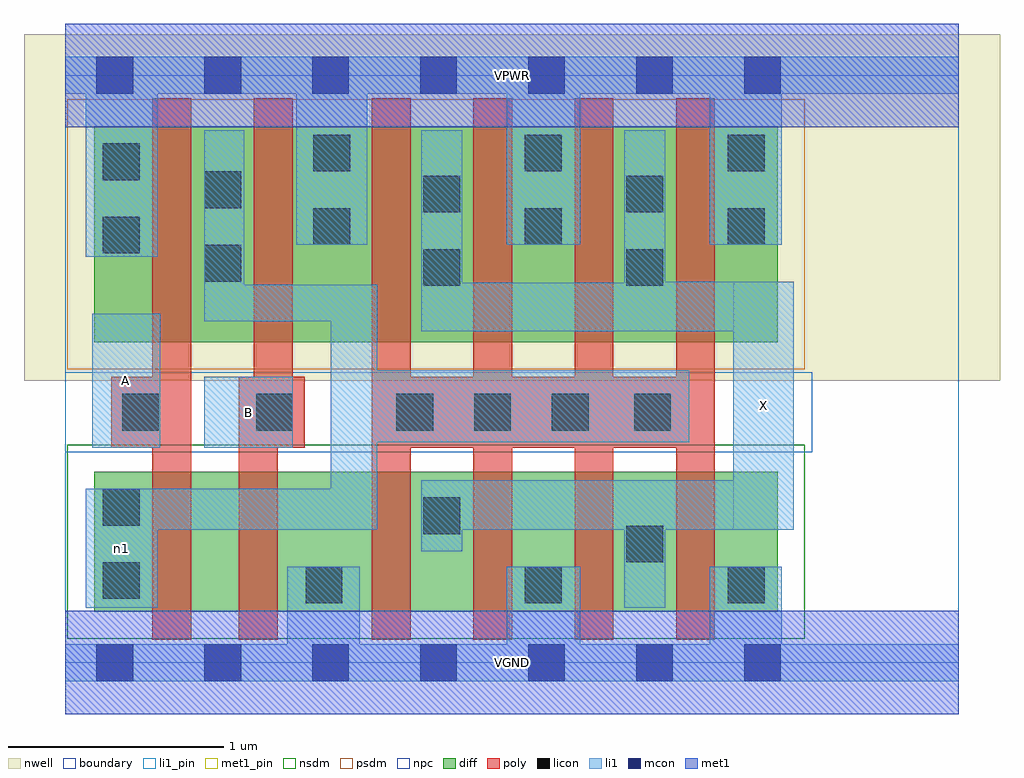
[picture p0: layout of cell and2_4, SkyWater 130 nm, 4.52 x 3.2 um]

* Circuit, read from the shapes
.subckt and2_4 A B VGND VPWR X n1
XM1 n2 A n1 VSUBS sky130_fd_pr__nfet_01v8 w=0.65 l=0.18
XM2 VGND B n2 VSUBS sky130_fd_pr__nfet_01v8 w=0.65 l=0.18
XM3 X n1 VGND VSUBS sky130_fd_pr__nfet_01v8 w=0.65 l=0.18 m=4
XM4 n1 A VPWR n3 sky130_fd_pr__pfet_01v8 w=1 l=0.18
XM5 VPWR B n1 n3 sky130_fd_pr__pfet_01v8 w=1 l=0.18
XM6 X n1 VPWR n3 sky130_fd_pr__pfet_01v8 w=1 l=0.18 m=4
.ends

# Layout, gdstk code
import gdstk
lib = gdstk.Library(unit=1e-6, precision=1e-09)
def R(c, l, rs):  # rectangles x0, y0, x1, y1
    for r in rs: c.add(gdstk.rectangle(r[:2], r[2:], *l))
def A(c, l, x, y, w, h, nx, ny, dx, dy):  # array of equal rectangles
    R(c, l, [(x+i*dx, y+j*dy, x+i*dx+w, y+j*dy+h) for i in range(nx) for j in range(ny)])
nwell = (64, 20)
diff = (65, 20)
poly = (66, 20)
licon = (66, 44)
li1_pin = (67, 16)
li1 = (67, 20)
mcon = (67, 44)
met1_pin = (68, 16)
met1 = (68, 20)
nsdm = (93, 44)
psdm = (94, 20)
npc = (95, 20)
boundary = (235, 4)

and2_4 = lib.new_cell('and2_4')
R(and2_4, nwell, [(-0.19,1.305,4.33,2.91), (0,1.305,4.14,2.91)])
R(and2_4, diff, [(0.135,0.235,3.3,0.885), (0.135,1.485,3.3,2.485)])
A(and2_4, poly, 1.42, 0.105, 0.18, 2.51, 4, 1, 0.47, 0)
R(and2_4, poly, [(0.405,0.105,0.585,2.615), (0.805,0.105,0.985,1.325), (0.215,0.995,0.585,1.325), (0.805,0.995,1.11,1.325), (0.875,0.995,1.055,2.615), (1.42,0.995,3.01,1.325)])
A(and2_4, licon, 1.535, 1.075, 0.17, 0.17, 3, 1, 0.36, 0)
R(and2_4, licon, [(1.115,0.275,1.285,0.445), (2.13,0.275,2.3,0.445), (3.07,0.275,3.24,0.445), (0.175,0.295,0.345,0.465), (2.6,0.465,2.77,0.635), (1.66,0.595,1.83,0.765), (0.175,0.635,0.345,0.805), (0.265,1.075,0.435,1.245), (0.885,1.075,1.055,1.245), (2.635,1.075,2.805,1.245), (1.66,1.745,1.83,1.915), (2.6,1.745,2.77,1.915), (0.645,1.765,0.815,1.935), (0.175,1.895,0.345,2.065), (1.15,1.935,1.32,2.105), (2.13,1.935,2.3,2.105), (3.07,1.935,3.24,2.105), (1.66,2.085,1.83,2.255), (2.6,2.085,2.77,2.255), (0.645,2.105,0.815,2.275), (0.175,2.235,0.345,2.405), (1.15,2.275,1.32,2.445), (2.13,2.275,2.3,2.445), (3.07,2.275,3.24,2.445)])
R(and2_4, li1_pin, [(3.095,0.615,3.375,1.765), (0.125,0.995,0.44,1.615), (0.645,0.995,1.055,1.325)])
R(and2_4, li1, [(0,-0.085,4.14,0.085), (1.03,-0.085,1.365,0.445), (2.045,-0.085,2.385,0.445), (2.985,-0.085,3.32,0.445), (0.095,0.255,0.43,0.805), (2.59,0.255,2.78,0.845), (1.65,0.515,1.84,0.845), (0.095,0.615,1.445,0.805), (1.23,0.615,1.445,1.75), (1.65,0.615,3.375,0.845), (3.095,0.615,3.375,1.765), (0.125,0.995,0.44,1.615), (0.645,0.995,1.055,1.325), (1.23,1.02,2.89,1.355), (1.65,1.535,3.375,1.76), (1.65,1.535,1.84,2.465), (2.59,1.535,2.78,2.465), (2.59,1.535,3.375,1.765), (0.645,1.58,0.83,2.465), (0.645,1.58,1.445,1.75), (0.095,1.88,0.43,2.805), (1.07,1.935,1.4,2.805), (2.045,1.935,2.385,2.805), (2.985,1.935,3.32,2.805), (0,2.635,4.14,2.805)])
A(and2_4, mcon, 0.145, -0.085, 0.17, 0.17, 7, 2, 0.5, 2.72)
R(and2_4, met1_pin, [(0,-0.24,4.14,0.24), (0,2.48,4.14,2.96)])
R(and2_4, met1, [(0,-0.24,4.14,0.24), (0,2.48,4.14,2.96)])
R(and2_4, nsdm, [(0.01,0.11,3.425,1.01)])
R(and2_4, psdm, [(0.01,1.36,3.425,2.61)])
R(and2_4, npc, [(0,0.975,3.46,1.345)])
R(and2_4, boundary, [(0,0,4.14,2.72)])
and2_4.add(gdstk.Label('A', (0.282,1.305), layer=67, texttype=5))
and2_4.add(gdstk.Label('B', (0.85,1.16), layer=67, texttype=5))
and2_4.add(gdstk.Label('X', (3.235,1.19), layer=67, texttype=5))
and2_4.add(gdstk.Label('n1', (0.262,0.53), layer=67, texttype=5))
and2_4.add(gdstk.Label('VPWR', (2.07,2.72), layer=68, texttype=5))
and2_4.add(gdstk.Label('VGND', (2.07,0), layer=68, texttype=5))
and2_4.add(gdstk.Label('A', (0.282,1.305), layer=67, texttype=16))
and2_4.add(gdstk.Label('B', (0.85,1.16), layer=67, texttype=16))
and2_4.add(gdstk.Label('X', (3.235,1.19), layer=67, texttype=16))
and2_4.add(gdstk.Label('VPWR', (2.07,2.72), layer=68, texttype=16))
and2_4.add(gdstk.Label('VGND', (2.07,0), layer=68, texttype=16))

lib.write_gds('and2_4.gds')
